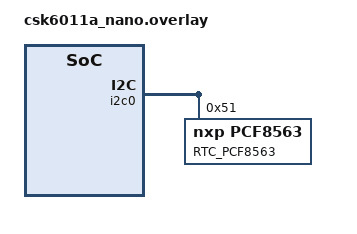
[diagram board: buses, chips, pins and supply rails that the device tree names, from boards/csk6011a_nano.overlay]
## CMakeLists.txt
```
# SPDX-License-Identifier: Apache-2.0

cmake_minimum_required(VERSION 3.20.0)

set(SUPPORT_BOARDS csk6012_nano csk6011a_nano)
if(NOT ${BOARD} IN_LIST SUPPORT_BOARDS)
    message("Please choose one of the following boards:")
    foreach(item ${SUPPORT_BOARDS})
        message(STATUS ${item})
    endforeach()
    message(FATAL_ERROR "\nThe project does not support the ${BOARD}")
endif()

find_package(Zephyr REQUIRED HINTS $ENV{ZEPHYR_BASE})
project(rtc_pcf8563)

target_sources(app PRIVATE src/main.c)
```

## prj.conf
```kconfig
### LOG subsystem related configs ###
CONFIG_LOG=y
CONFIG_LOG_PRINTK=y
CONFIG_LOG_MODE_DEFERRED=y
CONFIG_LOG_BUFFER_SIZE=4096
# CONFIG_LOG_MODE_IMMEDIATE=y

### Devices ###
CONFIG_GPIO=y
CONFIG_I2C=y
CONFIG_RTC=y
CONFIG_RTC_PCF8563=y
```

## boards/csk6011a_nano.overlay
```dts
/*
 * Copyright (c) 2023 Anhui(Shenzhen) Listenai Co., Ltd.
 *
 * SPDX-License-Identifier: Apache-2.0
 */

&pinctrl {
	pinctrl_i2c0_scl_default: i2c0_scl_default{
		pinctrls = <I2C0_SCL_GPIOB_10>;
	};

	pinctrl_i2c0_sda_default: i2c0_sda_default{
		pinctrls = <I2C0_SDA_GPIOB_11>;
	};
};

&i2c0 {
	status = "okay";
	pinctrl-0 = <&pinctrl_i2c0_scl_default &pinctrl_i2c0_sda_default>;
	pinctrl-names = "default";

	rtc: pcf8563@51 {
		compatible = "nxp,pcf8563";
		reg = <0x51>;
		alarms-count = <1>;
		battery-switch-over = "standard";
		label = "RTC_PCF8563";
		/*
		* Interrupt connection must be manually established using a jumper wire between
		* pins "SQ" and "Digital I/O 7".
		*/
		// int1-gpios = <&gpiob 13 (GPIO_ACTIVE_LOW | GPIO_PULL_UP)>; /* D7 */
		status = "okay";
	};
};
```

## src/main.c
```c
/*
 * Copyright (c) 2023 Anhui(Shenzhen) Listenai Co., Ltd.
 *
 * SPDX-License-Identifier: Apache-2.0
 */
#include <time.h>

#include <zephyr/device.h>
#include <zephyr/drivers/i2c.h>
#include <zephyr/drivers/rtc.h>
#include <zephyr/zephyr.h>

#include <logging/log.h>

LOG_MODULE_REGISTER(rtc, LOG_LEVEL_INF);

#define RTC DT_LABEL(DT_NODELABEL(rtc))

int rtc_user_set_time(const struct device *dev, struct tm *tm)
{
	LOG_INF("Set RTC Time: %d-%d-%d %d:%d:%d", tm->tm_year, tm->tm_mon, tm->tm_mday,
		tm->tm_hour, tm->tm_min, tm->tm_sec);
	int ret = rtc_set_time(dev, (struct rtc_time *)tm);
	if (ret != 0) {
		LOG_ERR("Failed to set time: %d\n", ret);
		return ret;
	}
	return ret;
}

int rtc_user_get_time(const struct device *dev, struct tm *tm)
{
	int ret = 0;
	ret = rtc_get_time(dev, (struct rtc_time *)tm);

	if (ret != 0) {
		LOG_ERR("Failed to get time: %d\n", ret);
		return ret;
	}
	LOG_DBG("Get RTC Time: %d-%d-%d %d:%d:%d", tm->tm_year, tm->tm_mon, tm->tm_mday,
		tm->tm_hour, tm->tm_min, tm->tm_sec);
	return ret;
}

const struct device *rtc_dev;

int main()
{
	struct tm time;
	rtc_dev = device_get_binding(RTC);
	if (!rtc_dev) {
		LOG_INF("Failed to get device binding %p\n", rtc_dev);
		return -ENODEV;
	}
#if SET_RTC_TIME
	time.tm_year = 2023 - 1900;
	time.tm_mon = 6;
	time.tm_mday = 5;
	time.tm_hour = 14;
	time.tm_min = 30;
	time.tm_sec = 10;
	rtc_user_set_time(rtc_dev, &time);
#endif

	for (;;) {
		rtc_user_get_time(rtc_dev, &time);
		printk("RTC Time: %d-%d-%d %d:%d:%d\n", time.tm_year + 1900, time.tm_mon,
		       time.tm_mday, time.tm_hour, time.tm_min, time.tm_sec);
		k_sleep(K_SECONDS(1));
	}
	return 0;
}
```
